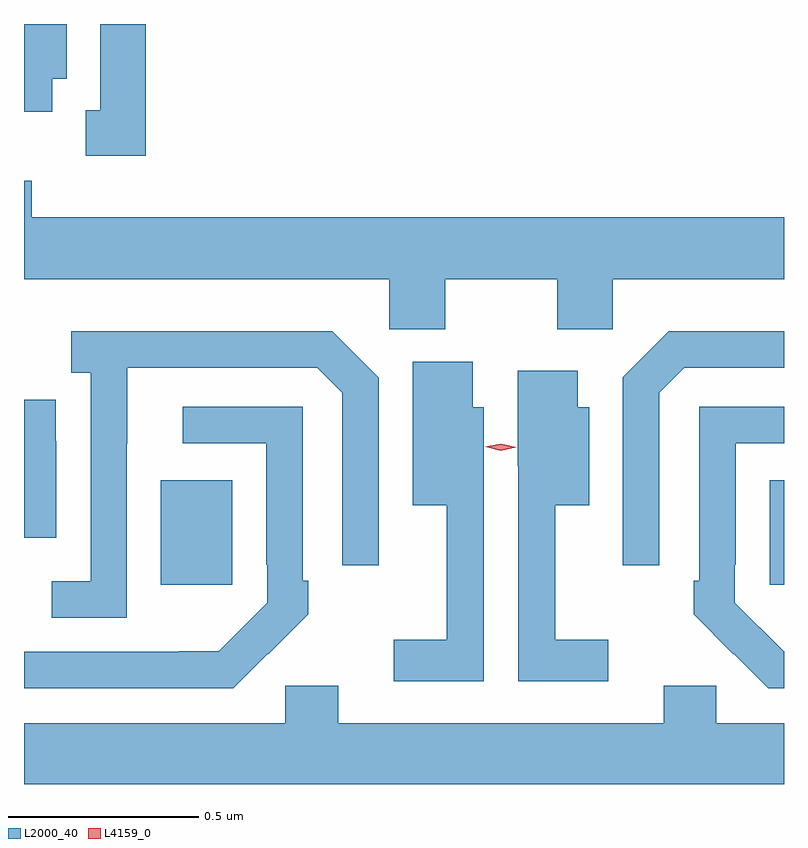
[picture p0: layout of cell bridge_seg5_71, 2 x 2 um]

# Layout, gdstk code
import gdstk
lib = gdstk.Library(unit=1e-6, precision=1e-09)
def R(c, l, rs):  # rectangles x0, y0, x1, y1
    for r in rs: c.add(gdstk.rectangle(r[:2], r[2:], *l))
def P(c, l, *ps):  # polygons
    for p in ps: c.add(gdstk.Polygon(p, *l))
L2000_40 = (2000, 40)
L4159_0 = (4159, 0)

bridge_seg5_71 = lib.new_cell('bridge_seg5_71')
R(bridge_seg5_71, L2000_40, [(305.609,867.945,305.797,868.219), (307.211,867.945,307.249,868.219)])
P(bridge_seg5_71, L2000_40, [(305.569,869.42),(305.45,869.42),(305.45,869.193),(305.411,869.193),(305.411,869.073),(305.569,869.073)],
  [(305.323,869.276),(305.362,869.276),(305.362,869.42),(305.249,869.42),(305.249,869.189),(305.323,869.189)],
  [(306.357,868.748),(306.652,868.748),(306.652,868.617),(306.798,868.617),(306.798,868.748),(307.249,868.748),(307.249,868.912),(305.27,868.912),(305.27,869.008),(305.249,869.008),(305.249,868.748),(306.21,868.748),(306.21,868.617),(306.357,868.617)],
  [(305.52,868.315),(305.521,868.315),(305.521,868.515),(306.021,868.515),(306.087,868.449),(306.087,867.996),(306.183,867.996),(306.183,868.489),(306.06,868.612),(305.373,868.612),(305.373,868.502),(305.424,868.502),(305.424,867.954),(305.322,867.954),(305.322,867.858),(305.52,867.858)],
  [(306.921,868.449),(306.987,868.515),(307.249,868.515),(307.249,868.612),(306.946,868.612),(306.825,868.491),(306.825,867.996),(306.921,867.996)],
  [(306.459,868.411),(306.43,868.411),(306.43,868.531),(306.272,868.531),(306.272,868.154),(306.362,868.154),(306.362,867.799),(306.222,867.799),(306.222,867.69),(306.459,867.69)],
  [(306.787,867.799),(306.647,867.799),(306.647,868.154),(306.736,868.154),(306.736,868.411),(306.706,868.411),(306.706,868.507),(306.548,868.507),(306.548,868.258),(306.549,868.258),(306.549,867.69),(306.787,867.69)],
  [(305.334,868.322),(305.333,868.322),(305.333,868.431),(305.249,868.431),(305.249,868.068),(305.334,868.068)],
  [(307.249,867.769),(307.248,867.769),(307.119,867.897),(307.119,867.997),(307.122,867.997),(307.122,868.317),(307.249,868.317),(307.249,868.413),(307.026,868.413),(307.026,867.955),(307.011,867.955),(307.011,867.867),(307.116,867.762),(307.117,867.763),(307.208,867.672),(307.249,867.672)],
  [(305.891,867.763),(305.892,867.762),(305.997,867.867),(305.997,867.955),(305.982,867.955),(305.982,868.413),(305.667,868.413),(305.667,868.317),(305.886,868.317),(305.886,867.997),(305.889,867.997),(305.889,867.897),(305.761,867.769),(305.657,867.769),(305.657,867.768),(305.249,867.768),(305.249,867.672),(305.8,867.672)],
  [(307.249,867.58),(307.071,867.58),(307.071,867.678),(306.932,867.678),(306.932,867.58),(306.076,867.58),(306.076,867.678),(305.937,867.678),(305.937,867.58),(305.249,867.58),(305.249,867.42),(307.249,867.42)])
P(bridge_seg5_71, L4159_0, [(306.504,868.297),(306.463,868.307),(306.463,868.307),(306.463,868.307),(306.504,868.316),(306.544,868.306),(306.544,868.306),(306.544,868.306)])

lib.write_gds('bridge_seg5_71.gds')
